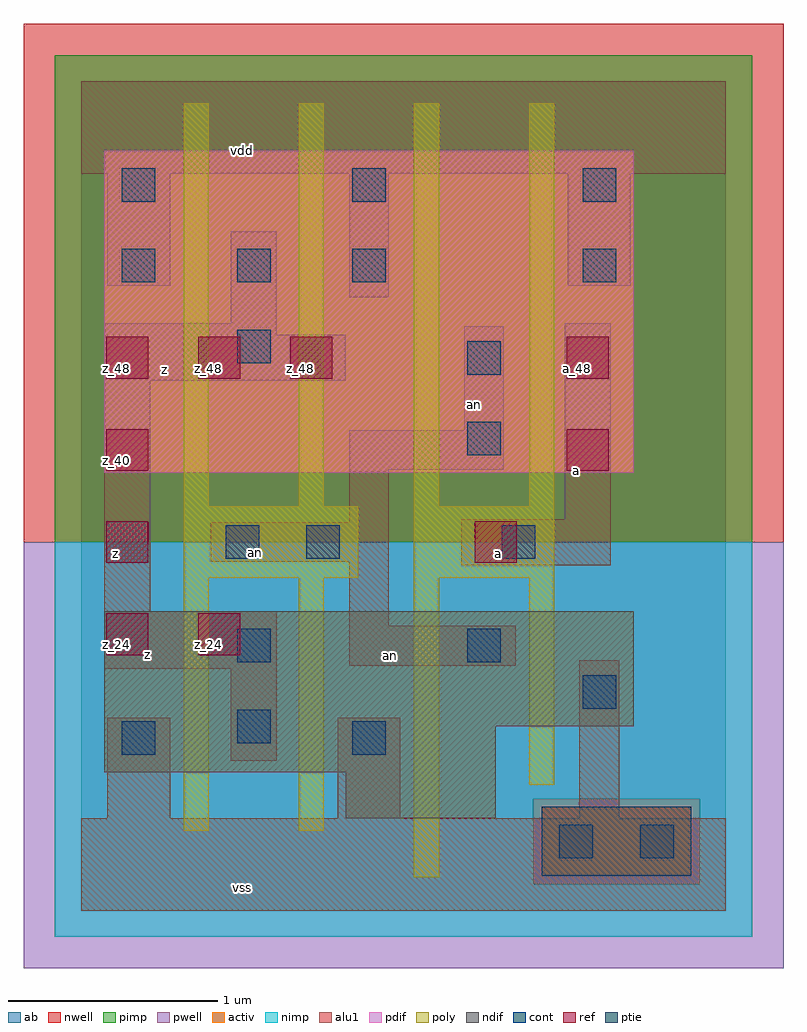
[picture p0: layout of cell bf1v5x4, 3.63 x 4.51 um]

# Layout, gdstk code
import gdstk
lib = gdstk.Library(unit=1e-6, precision=2.5e-09)
def R(c, l, rs):  # rectangles x0, y0, x1, y1
    for r in rs: c.add(gdstk.rectangle(r[:2], r[2:], *l))
def A(c, l, x, y, w, h, nx, ny, dx, dy):  # array of equal rectangles
    R(c, l, [(x+i*dx, y+j*dy, x+i*dx+w, y+j*dy+h) for i in range(nx) for j in range(ny)])
ndif = (3, 0)
pdif = (4, 0)
ptie = (6, 0)
ref = (24, 0)
cont = (25, 0)
pwell = (41, 0)
nwell = (42, 0)
activ = (43, 0)
pimp = (44, 0)
nimp = (45, 0)
poly = (46, 0)
alu1 = (49, 0)
ab = (63, 0)

bf1v5x4 = lib.new_cell('bf1v5x4')
R(bf1v5x4, ndif, [(1.265,0.44,1.98,0.66), (0.11,0.66,1.98,0.88), (0.11,0.88,2.64,1.43)])
R(bf1v5x4, pdif, [(0.11,2.09,2.64,3.63)])
R(bf1v5x4, ptie, [(2.2,0.165,2.915,0.495)])
A(bf1v5x4, ref, 0.12, 1.22, 0.2, 0.2, 1, 3, 0, 0.44)
A(bf1v5x4, ref, 0.12, 2.54, 0.2, 0.2, 3, 1, 0.44, 0)
R(bf1v5x4, ref, [(0.56,1.22,0.76,1.42), (1.88,1.66,2.08,1.86), (2.32,2.1,2.52,2.3), (2.32,2.54,2.52,2.74)])
A(bf1v5x4, cont, 0.195, 3, 0.16, 0.16, 3, 1, 0.55, 0)
A(bf1v5x4, cont, 0.195, 3.385, 0.16, 0.16, 3, 1, 1.1, 0)
R(bf1v5x4, cont, [(2.285,0.25,2.445,0.41), (2.67,0.25,2.83,0.41), (0.195,0.745,0.355,0.905), (1.295,0.745,1.455,0.905), (0.745,0.8,0.905,0.96), (2.395,0.965,2.555,1.125), (0.745,1.185,0.905,1.345), (1.845,1.185,2.005,1.345), (0.69,1.68,0.85,1.84), (1.075,1.68,1.235,1.84), (2.01,1.68,2.17,1.84), (1.845,2.175,2.005,2.335), (1.845,2.56,2.005,2.72), (0.745,2.615,0.905,2.775), (2.395,3,2.555,3.16)])
R(bf1v5x4, pwell, [(-0.275,-0.275,3.355,1.76)])
R(bf1v5x4, nwell, [(-0.275,1.76,3.355,4.235)])
R(bf1v5x4, activ, [(2.2,0.165,2.915,0.495), (1.265,0.44,1.98,0.66), (0.11,0.66,1.98,0.88), (0.11,0.88,2.64,1.43), (0.11,2.09,2.64,3.63)])
R(bf1v5x4, pimp, [(2.16,0.125,2.955,0.535), (-0.125,1.76,3.205,4.085)])
R(bf1v5x4, nimp, [(-0.125,-0.125,3.205,0.125), (-0.125,0.125,2.16,0.535), (2.955,0.125,3.205,0.535), (-0.125,0.535,3.205,1.76)])
A(bf1v5x4, poly, 0.49, 1.93, 0.12, 1.925, 4, 1, 0.55, 0)
R(bf1v5x4, poly, [(1.59,0.16,1.71,1.59), (0.49,0.38,0.61,1.59), (1.04,0.38,1.16,1.59), (2.14,0.6,2.26,1.59), (0.49,1.59,1.325,1.93), (1.59,1.59,2.26,1.93)])
R(bf1v5x4, alu1, [(0,0,3.08,0.44), (0.125,0.44,0.425,0.92), (1.225,0.44,1.525,0.92), (2.38,0.44,2.57,1.195), (0.715,0.715,0.935,1.155), (0.11,1.155,0.935,1.43), (1.28,1.17,2.075,1.36), (1.28,1.36,1.47,1.665), (0.11,1.43,0.33,2.53), (1.815,1.65,2.53,1.87), (0.62,1.665,1.47,1.855), (1.28,1.855,1.47,2.105), (2.31,1.87,2.53,2.805), (1.28,2.105,2.02,2.295), (1.83,2.295,2.02,2.79), (0.11,2.53,1.265,2.75), (0.11,2.75,0.935,2.805), (0.715,2.805,0.935,3.245), (1.28,2.93,1.47,3.52), (0.125,2.985,0.425,3.52), (2.325,2.985,2.625,3.52), (0,3.52,3.08,3.96)])
R(bf1v5x4, ab, [(0,0,3.08,3.96)])
bf1v5x4.add(gdstk.Label('vss', (0.77,0.11), layer=49, texttype=0))
bf1v5x4.add(gdstk.Label('an', (1.4775,1.2175), layer=49, texttype=0))
bf1v5x4.add(gdstk.Label('a', (1.9925,1.705), layer=49, texttype=0))
bf1v5x4.add(gdstk.Label('z', (0.315,1.2225), layer=49, texttype=0))
bf1v5x4.add(gdstk.Label('an', (0.8325,1.7125), layer=49, texttype=0))
bf1v5x4.add(gdstk.Label('a', (2.365,2.1025), layer=49, texttype=0))
bf1v5x4.add(gdstk.Label('an', (1.8775,2.4175), layer=49, texttype=0))
bf1v5x4.add(gdstk.Label('z', (0.165,1.705), layer=49, texttype=0))
bf1v5x4.add(gdstk.Label('z', (0.3975,2.585), layer=49, texttype=0))
bf1v5x4.add(gdstk.Label('vdd', (0.77,3.63), layer=49, texttype=0))
bf1v5x4.add(gdstk.Label('a_48', (2.37,2.59), layer=24, texttype=0))
bf1v5x4.add(gdstk.Label('a_40', (2.37,2.15), layer=24, texttype=0))
bf1v5x4.add(gdstk.Label('z_48', (0.17,2.59), layer=24, texttype=0))
bf1v5x4.add(gdstk.Label('z_40', (0.17,2.15), layer=24, texttype=0))
bf1v5x4.add(gdstk.Label('z_32', (0.17,1.71), layer=24, texttype=0))
bf1v5x4.add(gdstk.Label('z_24', (0.17,1.27), layer=24, texttype=0))
bf1v5x4.add(gdstk.Label('a_32', (1.93,1.71), layer=24, texttype=0))
bf1v5x4.add(gdstk.Label('z_48', (1.05,2.59), layer=24, texttype=0))
bf1v5x4.add(gdstk.Label('z_48', (0.61,2.59), layer=24, texttype=0))
bf1v5x4.add(gdstk.Label('z_24', (0.61,1.27), layer=24, texttype=0))

lib.write_gds('bf1v5x4.gds')
